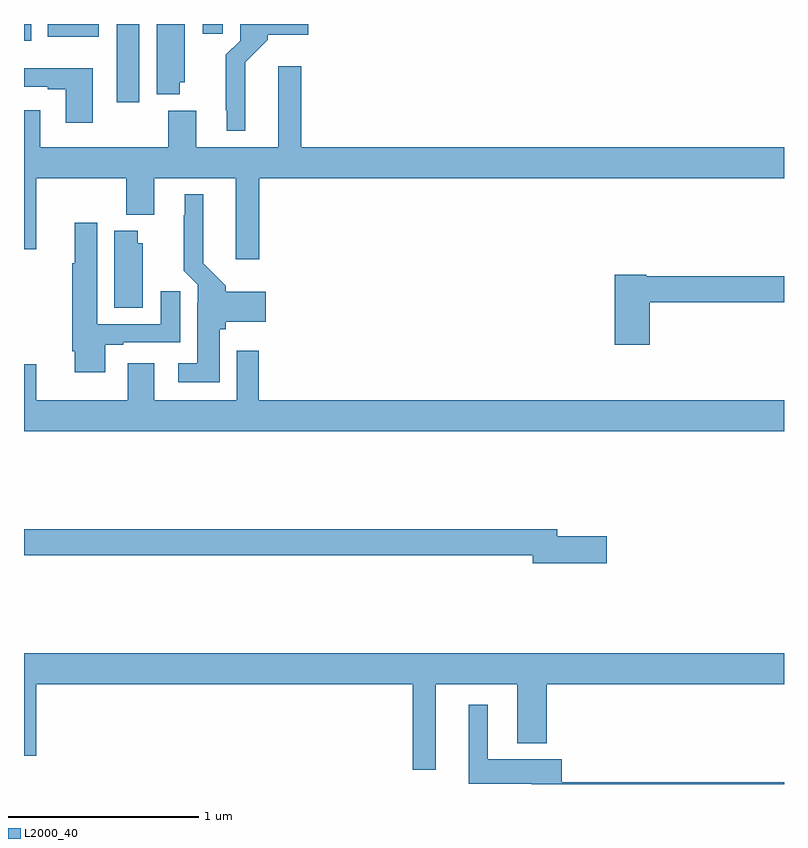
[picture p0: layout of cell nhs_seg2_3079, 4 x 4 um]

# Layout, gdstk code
import gdstk
lib = gdstk.Library(unit=1e-6, precision=1e-09)
def R(c, l, rs):  # rectangles x0, y0, x1, y1
    for r in rs: c.add(gdstk.rectangle(r[:2], r[2:], *l))
def P(c, l, *ps):  # polygons
    for p in ps: c.add(gdstk.Polygon(p, *l))
L2000_40 = (2000, 40)

nhs_seg2_3079 = lib.new_cell('nhs_seg2_3079')
R(nhs_seg2_3079, L2000_40, [(273.488,629.388,273.607,629.8), (273,629.712,273.037,629.8), (273.125,629.732,273.394,629.8), (273.941,629.748,274.045,629.8)])
P(nhs_seg2_3079, L2000_40, [(274.165,629.6),(274.283,629.718),(274.283,629.744),(274.495,629.744),(274.495,629.8),(274.137,629.8),(274.137,629.712),(274.063,629.638),(274.063,629.347),(274.067,629.347),(274.067,629.237),(274.165,629.237)],
  [(273.82,629.493),(273.847,629.493),(273.847,629.8),(273.698,629.8),(273.698,629.429),(273.82,629.429)],
  [(274.238,628.988),(277,628.988),(277,629.152),(274.46,629.152),(274.46,629.578),(274.337,629.578),(274.337,629.152),(273.907,629.152),(273.907,629.344),(273.76,629.344),(273.76,629.152),(273.085,629.152),(273.085,629.347),(273,629.347),(273,628.614),(273.064,628.614),(273.064,628.988),(273.538,628.988),(273.538,628.796),(273.685,628.796),(273.685,628.988),(274.115,628.988),(274.115,628.563),(274.238,628.563)],
  [(273.361,629.566),(273,629.566),(273,629.469),(273.125,629.469),(273.125,629.457),(273.221,629.457),(273.221,629.28),(273.361,629.28)],
  [(274.03,628.194),(274.061,628.194),(274.061,628.232),(274.273,628.232),(274.273,628.39),(274.061,628.39),(274.061,628.422),(273.943,628.54),(273.943,628.903),(273.845,628.903),(273.845,628.793),(273.841,628.793),(273.841,628.502),(273.915,628.428),(273.915,628.334),(273.911,628.334),(273.911,628.015),(273.813,628.015),(273.813,627.914),(274.03,627.914)],
  [(273.427,628.113),(273.523,628.113),(273.523,628.125),(273.823,628.125),(273.823,628.393),(273.719,628.393),(273.719,628.221),(273.385,628.221),(273.385,628.753),(273.266,628.753),(273.266,628.54),(273.254,628.54),(273.254,628.078),(273.266,628.078),(273.266,627.966),(273.427,627.966)],
  [(273.625,628.647),(273.598,628.647),(273.598,628.711),(273.476,628.711),(273.476,628.306),(273.625,628.306)],
  [(276.293,628.336),(277,628.336),(277,628.472),(276.276,628.472),(276.276,628.48),(276.11,628.48),(276.11,628.113),(276.293,628.113)],
  [(277,627.82),(274.235,627.82),(274.235,628.081),(274.119,628.081),(274.119,627.82),(273.685,627.82),(273.685,628.015),(273.545,628.015),(273.545,627.82),(273.064,627.82),(273.064,628.009),(273,628.009),(273,627.656),(277,627.656)],
  [(276.067,627.104),(275.806,627.104),(275.806,627.14),(273,627.14),(273,627.004),(275.678,627.004),(275.678,626.962),(276.067,626.962)],
  [(275.167,626.324),(275.597,626.324),(275.597,626.015),(275.75,626.015),(275.75,626.324),(277,626.324),(277,626.488),(273,626.488),(273,625.95),(273.064,625.95),(273.064,626.324),(275.046,626.324),(275.046,625.875),(275.167,625.875)],
  [(277,625.808),(275.831,625.808),(275.831,625.93),(275.44,625.93),(275.44,626.218),(275.342,626.218),(275.342,625.802),(275.672,625.802),(275.672,625.8),(277,625.8)])

lib.write_gds('nhs_seg2_3079.gds')
